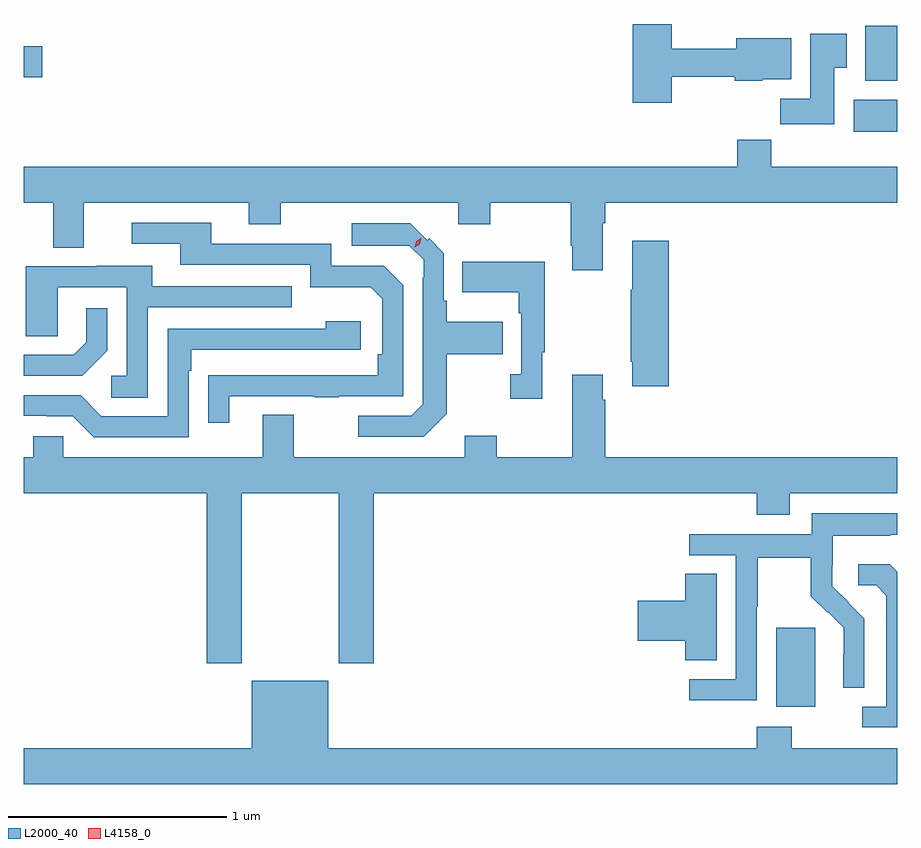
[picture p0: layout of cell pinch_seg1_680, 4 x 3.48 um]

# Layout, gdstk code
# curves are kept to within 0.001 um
import gdstk
lib = gdstk.Library(unit=1e-6, precision=1e-09)
def R(c, l, rs):  # rectangles x0, y0, x1, y1
    for r in rs: c.add(gdstk.rectangle(r[:2], r[2:], *l))
def P(c, l, *ps):  # polygons
    for p in ps: c.add(gdstk.Polygon(p, *l))
L2000_40 = (2000, 40)
L4158_0 = (4158, 0)

pinch_seg1_680 = lib.new_cell('pinch_seg1_680')
R(pinch_seg1_680, L2000_40, [(667.043,561.41,667.222,561.771), (667.397,564.044,667.596,564.19), (667.451,564.278,667.596,564.529), (663.596,564.295,663.679,564.437)])
P(pinch_seg1_680, L2000_40, [(666.564,564.297),(666.853,564.297),(666.853,564.278),(666.978,564.278),(666.978,564.284),(667.111,564.284),(667.111,564.472),(666.86,564.472),(666.86,564.425),(666.564,564.425),(666.564,564.538),(666.386,564.538),(666.386,564.177),(666.564,564.177)],
  [(667.309,564.337),(667.366,564.337),(667.366,564.493),(667.199,564.493),(667.199,564.196),(667.06,564.196),(667.06,564.078),(667.309,564.078)],
  [(666.247,563.624),(666.26,563.624),(666.26,563.72),(667.596,563.72),(667.596,563.884),(667.019,563.884),(667.019,564.008),(666.863,564.008),(666.863,563.884),(663.596,563.884),(663.596,563.72),(663.731,563.72),(663.731,563.512),(663.871,563.512),(663.871,563.72),(664.625,563.72),(664.625,563.621),(664.773,563.621),(664.773,563.72),(665.585,563.72),(665.585,563.621),(665.733,563.621),(665.733,563.72),(666.1,563.72),(666.1,563.521),(666.107,563.521),(666.107,563.409),(666.247,563.409)],
  [(664.537,562.833),(664.927,562.833),(664.927,562.828),(665.039,562.828),(665.039,562.833),(665.334,562.833),(665.334,563.34),(665.244,563.43),(665.004,563.43),(665.004,563.532),(664.453,563.532),(664.453,563.628),(664.089,563.628),(664.089,563.532),(664.313,563.532),(664.313,563.436),(664.908,563.436),(664.908,563.333),(665.185,563.333),(665.238,563.28),(665.238,563.026),(665.218,563.026),(665.218,562.929),(664.441,562.928),(664.441,562.71),(664.537,562.71)],
  [(665.533,562.753),(665.533,563.026),(665.789,563.026),(665.789,563.173),(665.533,563.173),(665.533,563.269),(665.52,563.269),(665.52,563.488),(665.452,563.557),(665.443,563.548),(665.365,563.625),(665.097,563.625),(665.097,563.523),(665.361,563.523),(665.427,563.457),(665.427,563.375),(665.424,563.375),(665.424,562.797),(665.37,562.743),(665.127,562.743),(665.127,562.647),(665.427,562.647)],
  [(666.551,563.545),(666.383,563.545),(666.383,563.321),(666.376,563.321),(666.376,562.99),(666.383,562.99),(666.383,562.878),(666.551,562.878)],
  [(665.971,563.033),(665.983,563.033),(665.983,563.449),(665.605,563.449),(665.605,563.309),(665.862,563.309),(665.862,563.213),(665.874,563.213),(665.874,562.934),(665.823,562.934),(665.823,562.821),(665.971,562.821)],
  [(664.164,563.241),(664.823,563.241),(664.823,563.337),(664.183,563.337),(664.183,563.431),(663.929,563.431),(663.929,563.427),(663.605,563.427),(663.605,563.107),(663.75,563.107),(663.75,563.331),(664.068,563.331),(664.068,562.926),(663.996,562.926),(663.996,562.825),(664.164,562.825)],
  [(663.978,563.042),(663.978,563.236),(663.881,563.236),(663.881,563.079),(663.824,563.022),(663.596,563.022),(663.596,562.926),(663.862,562.926)],
  [(664.35,562.949),(664.363,562.949),(664.363,563.046),(665.14,563.046),(665.14,563.176),(664.979,563.176),(664.979,563.142),(664.254,563.142),(664.254,562.74),(663.951,562.74),(663.855,562.836),(663.596,562.836),(663.596,562.743),(663.701,562.743),(663.701,562.74),(663.819,562.74),(663.915,562.644),(664.35,562.644)],
  [(664.593,562.388),(665.038,562.388),(665.038,561.609),(665.198,561.609),(665.198,562.388),(666.953,562.388),(666.953,562.289),(667.105,562.289),(667.105,562.388),(667.596,562.388),(667.596,562.552),(666.26,562.552),(666.26,562.817),(666.247,562.817),(666.247,562.93),(666.107,562.93),(666.107,562.552),(665.763,562.552),(665.763,562.651),(665.615,562.651),(665.615,562.552),(664.831,562.552),(664.831,562.747),(664.691,562.747),(664.691,562.552),(663.777,562.552),(663.777,562.65),(663.639,562.65),(663.639,562.552),(663.596,562.552),(663.596,562.388),(664.433,562.388),(664.433,561.609),(664.593,561.609)],
  [(666.954,561.868),(666.957,561.868),(666.957,562.092),(667.201,562.092),(667.201,561.917),(667.278,561.84),(667.281,561.843),(667.352,561.773),(667.352,561.65),(667.35,561.65),(667.35,561.496),(667.446,561.496),(667.446,561.814),(667.3,561.962),(667.3,562.059),(667.302,562.059),(667.302,562.193),(667.565,562.193),(667.565,562.197),(667.596,562.197),(667.596,562.297),(667.206,562.297),(667.206,562.2),(666.645,562.2),(666.645,562.104),(666.858,562.104),(666.858,561.537),(666.645,561.537),(666.645,561.439),(666.954,561.439)],
  [(667.596,562.029),(667.562,562.063),(667.419,562.063),(667.419,561.966),(667.5,561.966),(667.547,561.919),(667.547,561.411),(667.437,561.411),(667.437,561.315),(667.596,561.315)],
  [(666.769,562.019),(666.626,562.019),(666.626,561.896),(666.408,561.896),(666.408,561.713),(666.626,561.713),(666.626,561.622),(666.769,561.622)],
  [(667.596,561.22),(667.113,561.22),(667.113,561.319),(666.953,561.319),(666.953,561.22),(664.99,561.22),(664.99,561.529),(664.64,561.529),(664.64,561.22),(663.596,561.22),(663.596,561.056),(667.596,561.056)])
P(pinch_seg1_680, L4158_0, [(665.386,563.515),(665.386,563.515),(665.394,563.542),(665.417,563.556),(665.417,563.556),(665.417,563.556),(665.409,563.529),(665.386,563.515)])

lib.write_gds('pinch_seg1_680.gds')
